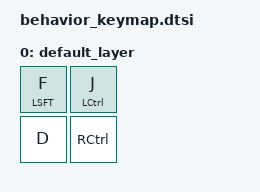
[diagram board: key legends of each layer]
#include <dt-bindings/zmk/keys.h>
#include <behaviors.dtsi>
#include <dt-bindings/zmk/kscan-mock.h>

/ {
	behaviors {
		tp: behavior_tap_preferred {
			compatible = "zmk,behavior-tap-hold";
			label = "MOD_TAP";
			#binding-cells = <2>;
			flavor = "tap-preferred";
			tapping_term_ms = <200>;
			bindings = <&kp>, <&kp>;
		};
	};

	keymap {
		compatible = "zmk,keymap";
		label ="Default keymap";

		default_layer {
			bindings = <
				&mt LSFT F &mt LCTL J
				&kp D &kp RCTL>;
		};
	};
};
